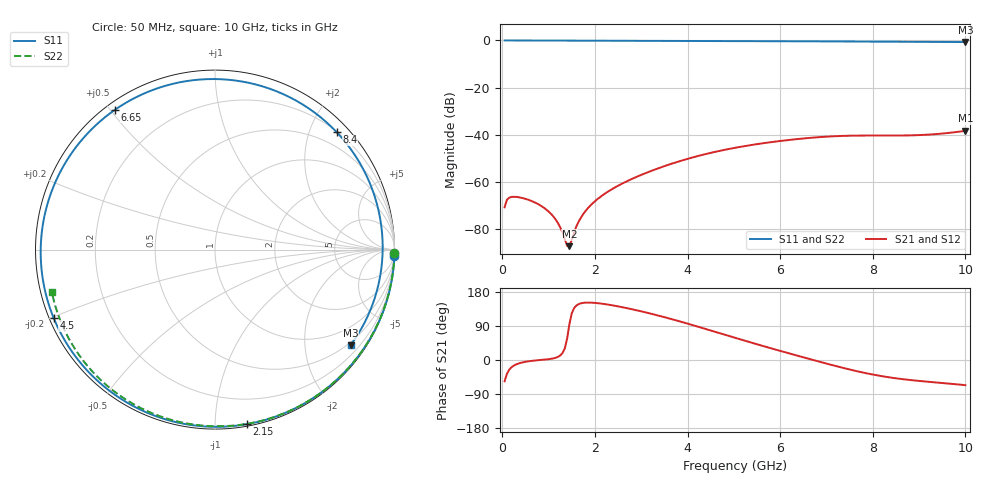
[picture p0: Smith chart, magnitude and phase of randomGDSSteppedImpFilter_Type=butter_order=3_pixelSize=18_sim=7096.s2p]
! freq	dB(S11)	phase(S11)	dB(S12)	phase(S12)
!  dB(S21)	phase(S21)	dB(S22)	phase(S22)
!S-par simulation data
#  GHz  S  DB  R 50
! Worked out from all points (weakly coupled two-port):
!   200 points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, 50 MHz to 10 GHz, reference 50 ohm
!   highest |S21| = -38.40 dB at 10 GHz (marker M1); lowest = -87.4 dB at 1.45 GHz (marker M2)
!   lowest |S11| = -0.7 dB at 10 GHz (marker M3), VSWR 25.45, Z = 21.2 - j155 ohm
!   |S11| at or under -10 dB: nowhere
!   |S22| runs from -0.5 to 0.0 dB; largest |S21 - S12| = 0
!   S11 on the Smith chart (normalised r, x): 50 MHz: 0, -59; 2.15 GHz: 0.01, -1.20; 4.5 GHz: 0.01, -0.20; 6.65 GHz: 0.03, +0.51; 8.4 GHz: 0.21, +2.47; 10 GHz: 0.42, -3.10
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0.05  -0.00 -1.9  -70.90 -56.2  -70.90 -56.2  -0.00 -1.0
0.1  -0.00 -3.9  -67.72 -36.4  -67.72 -36.4  -0.00 -1.9
0.15  -0.00 -5.8  -66.81 -25.6  -66.81 -25.6  -0.00 -2.9
0.55  -0.02 -21.2  -67.62 -3.7  -67.62 -3.7  -0.01 -10.5
0.95  -0.04 -36.3  -71.87 1.5  -71.87 1.5  -0.02 -18.2
1.25  -0.06 -47.4  -79.37 11.8  -79.37 11.8  -0.03 -23.8
1.45  -0.07 -54.7  -87.43 95.1  -87.43 95.1  -0.03 -27.6
1.6  -0.07 -60.1  -79.03 143.8  -79.03 143.8  -0.04 -30.4
1.75  -0.08 -65.5  -73.72 150.8  -73.72 150.8  -0.04 -33.1
2.15  -0.10 -79.6  -65.99 148.7  -65.99 148.7  -0.05 -40.5
2.75  -0.12 -100.0  -59.28 135.3  -59.28 135.3  -0.07 -51.3
3.4  -0.15 -121.4  -54.11 116.3  -54.11 116.3  -0.08 -62.7
4.5  -0.21 -157.1  -47.77 77.9  -47.77 77.9  -0.12 -81.3
5.05  -0.24 -175.4  -45.53 57.7  -45.53 57.7  -0.14 -90.3
5.85  -0.31 156.6  -43.09 29.3  -43.09 29.3  -0.18 -102.9
6.65  -0.37 125.5  -41.39 2.1  -41.39 2.1  -0.22 -115.2
6.7  -0.38 123.4  -41.31 0.4  -41.31 0.4  -0.23 -116.0
7.55  -0.45 85.8  -40.46 -26.5  -40.46 -26.5  -0.29 -128.7
8.35  -0.51 46.4  -40.43 -45.7  -40.43 -45.7  -0.36 -140.7
8.4  -0.52 43.9  -40.43 -46.6  -40.43 -46.6  -0.36 -141.4
9.2  -0.58 3.2  -40.02 -57.5  -40.02 -57.5  -0.45 -153.4
10  -0.68 -35.2  -38.40 -66.5  -38.40 -66.5  -0.55 -165.6
